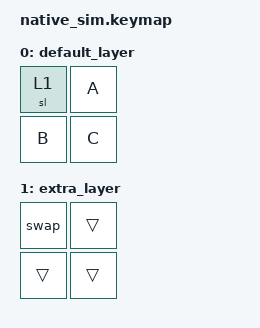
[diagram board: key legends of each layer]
#include <dt-bindings/zmk/keys.h>
#include <behaviors.dtsi>
#include <dt-bindings/zmk/kscan_mock.h>

/* Same scenario as swapper-layer-deactivation but WITHOUT
 * interrupt-on-layer-deactivation: the default behavior ignores layer
 * deactivations, so the start behavior is held until timeout-ms. */

/ {
    behaviors {
        swap: swap {
            compatible = "zmk,behavior-tri-state";
            #binding-cells = <0>;
            bindings = <&kt LALT>, <&kp TAB>, <&kt LALT>;
            ignored-key-positions = <3>;
            timeout-ms = <200>;
        };
    };

    keymap {
        compatible = "zmk,keymap";
        label = "Default keymap";

        default_layer {
            bindings = <
                &sl 1    &kp A
                &kp B    &kp C>;
        };

        extra_layer {
            bindings = <
                &swap    &trans
                &trans   &trans>;
        };
    };
};

&kscan {
    events = <
    /* arm the sticky layer */
    ZMK_MOCK_PRESS(0,0,10)
    ZMK_MOCK_RELEASE(0,0,10)
    /* same position now hits &swap on layer 1; the sticky layer quick-releases
     * on this press, deactivating the layer with no key event */
    ZMK_MOCK_PRESS(0,0,10)
    ZMK_MOCK_RELEASE(0,0,100)
    /* the trailing key is in ignored-key-positions, so it does not
     * interrupt; LALT is still held when it arrives and is only released
     * by the timer, which the long tail of the last event lets fire */
    ZMK_MOCK_PRESS(1,1,10)
    ZMK_MOCK_RELEASE(1,1,1000)
    >;
};
